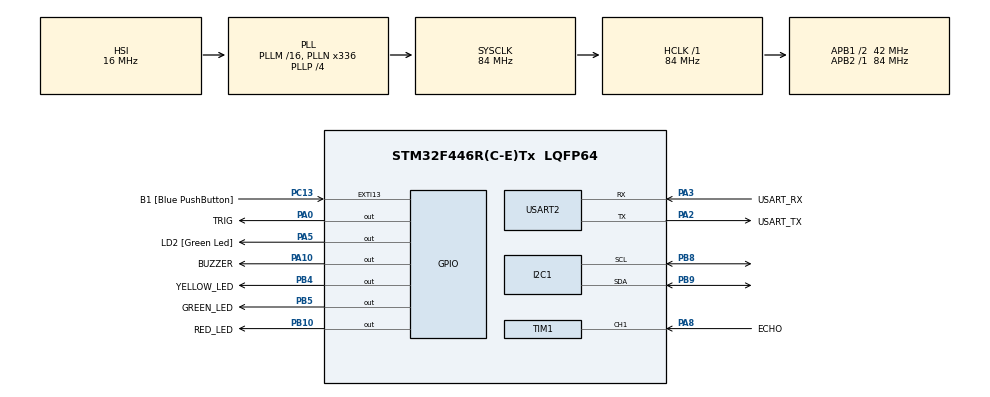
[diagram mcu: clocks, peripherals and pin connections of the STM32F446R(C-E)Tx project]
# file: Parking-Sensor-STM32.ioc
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Mcu.Family=STM32F4
Mcu.Name=STM32F446R(C-E)Tx
Mcu.Package=LQFP64
NVIC.PriorityGroup=NVIC_PRIORITYGROUP_0
NVIC.TIM1_CC_IRQn=true\:0\:0\:false\:false\:true\:true\:true\:true
PA0-WKUP.GPIO_Label=TRIG
PA0-WKUP.Signal=GPIO_Output
PA10.GPIO_Label=BUZZER
PA10.Signal=GPIO_Output
PA13.GPIO_Label=TMS
PA13.Mode=Serial_Wire
PA13.Signal=SYS_JTMS-SWDIO
PA14.GPIO_Label=TCK
PA14.Mode=Serial_Wire
PA14.Signal=SYS_JTCK-SWCLK
PA2.GPIO_Label=USART_TX
PA2.Mode=Asynchronous
PA2.Signal=USART2_TX
PA3.GPIO_Label=USART_RX
PA3.Mode=Asynchronous
PA3.Signal=USART2_RX
PA5.GPIO_Label=LD2 [Green Led]
PA5.Signal=GPIO_Output
PA8.GPIO_Label=ECHO
PA8.Signal=S_TIM1_CH1
PB10.GPIO_Label=RED_LED
PB10.Signal=GPIO_Output
PB3.GPIO_Label=SWO
PB3.Signal=SYS_JTDO-SWO
PB4.GPIO_Label=YELLOW_LED
PB4.Signal=GPIO_Output
PB5.GPIO_Label=GREEN_LED
PB5.Signal=GPIO_Output
PB8.Mode=I2C
PB8.Signal=I2C1_SCL
PB9.Mode=I2C
PB9.Signal=I2C1_SDA
PC13.GPIO_Label=B1 [Blue PushButton]
PC13.GPIO_ModeDefaultEXTI=GPIO_MODE_IT_FALLING
PC13.Signal=GPXTI13
PC14-OSC32_IN.Mode=LSE-External-Oscillator
PC14-OSC32_IN.Signal=RCC_OSC32_IN
PC15-OSC32_OUT.Mode=LSE-External-Oscillator
PC15-OSC32_OUT.Signal=RCC_OSC32_OUT
PH0-OSC_IN.Mode=HSE-External-Oscillator
PH0-OSC_IN.Signal=RCC_OSC_IN
PH1-OSC_OUT.Mode=HSE-External-Oscillator
PH1-OSC_OUT.Signal=RCC_OSC_OUT
ProjectManager.HeapSize=0x200
ProjectManager.StackSize=0x400
ProjectManager.TargetToolchain=STM32CubeIDE
RCC.48MHZClocksFreq_Value=84000000
RCC.AHBFreq_Value=84000000
RCC.APB1CLKDivider=RCC_HCLK_DIV2
RCC.APB1Freq_Value=42000000
RCC.APB1TimFreq_Value=84000000
RCC.APB2Freq_Value=84000000
RCC.APB2TimFreq_Value=84000000
RCC.CortexFreq_Value=84000000
RCC.FLatency-AdvancedSettings=FLASH_LATENCY_2
RCC.HCLKFreq_Value=84000000
RCC.HSE_VALUE=8000000
RCC.HSI_VALUE=16000000
RCC.PLLN=336
RCC.PLLP=RCC_PLLP_DIV4
RCC.SYSCLKFreq_VALUE=84000000
RCC.SYSCLKSource=RCC_SYSCLKSOURCE_PLLCLK
RCC.USBFreq_Value=168000000
RCC.VCOOutputFreq_Value=336000000
SH.S_TIM1_CH1.0=TIM1_CH1,Input_Capture1_from_TI1
TIM1.Channel-Input_Capture1_from_TI1=TIM_CHANNEL_1
TIM1.Period=0xffff-1
TIM1.Prescaler=84-1
USART2.VirtualMode=VM_ASYNC
board=NUCLEO-F446RE

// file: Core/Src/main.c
/* USER CODE BEGIN Header */
/**
  ******************************************************************************
  * @file           : main.c
  * @brief          : Main program body
  ******************************************************************************
  * @attention
  *
  * Copyright (c) 2024 STMicroelectronics.
  * All rights reserved.
  *
  * This software is licensed under terms that can be found in the LICENSE file
  * in the root directory of this software component.
  * If no LICENSE file comes with this software, it is provided AS-IS.
  *
  ******************************************************************************
  */
/* USER CODE END Header */
#include "main.h"

/* USER CODE BEGIN Includes */

#include <stdio.h>
#include "lcd1602a.h"

/* USER CODE END Includes */

I2C_HandleTypeDef hi2c1;

TIM_HandleTypeDef htim1;

UART_HandleTypeDef huart2;

/* USER CODE BEGIN PV */

LCD1602A lcd;

enum DistanceLevel {LOW = 0, MID, HIGH};

// TMR3 Input Capture Private Variables
enum InputCaptureState {ON_RISING_EDGE = 0, ON_FALLING_EDGE};

volatile enum InputCaptureState inputCaptureState = ON_RISING_EDGE;

volatile uint32_t inputCaptureRiseEdgeTime = 0;

volatile uint32_t inputCaptureFallEdgeTime = 0;

volatile uint8_t measuredDistance = 0; // in centimeters

/* USER CODE END PV */

void SystemClock_Config(void);
static void MX_GPIO_Init(void);
static void MX_USART2_UART_Init(void);
static void MX_I2C1_Init(void);
static void MX_TIM1_Init(void);

/* USER CODE BEGIN 0 */

/**
  * @brief  converts measured distance to level for LEDs and buzzer functions
  * @retval distance level
  */
enum DistanceLevel getDistanceLevel(uint8_t sensorDistance) {

	enum DistanceLevel level = LOW;

	if (0 <= sensorDistance && sensorDistance <= 5)
		level = HIGH;
	else if (5 < sensorDistance && sensorDistance <= 10)
		level = MID;
	else if (10 < sensorDistance && sensorDistance <= 15)
		level = LOW;

	return level;
}

/**
  * @brief  toggle corresponding leds based on distance
  * @retval none
  */
void toggleBuzzer(enum DistanceLevel level) {
	uint8_t pinState = (level == HIGH) ? GPIO_PIN_SET : GPIO_PIN_RESET;

	HAL_GPIO_WritePin(BUZZER_GPIO_Port, BUZZER_Pin, pinState);
}

/**
  * @brief  toggle corresponding leds based on distance
  * @retval none
  */
void toggleLEDs(enum DistanceLevel level) {

	// reset all pins
	HAL_GPIO_WritePin(RED_LED_GPIO_Port, RED_LED_Pin, GPIO_PIN_RESET);
	HAL_GPIO_WritePin(YELLOW_LED_GPIO_Port, YELLOW_LED_Pin, GPIO_PIN_RESET);
	HAL_GPIO_WritePin(GREEN_LED_GPIO_Port, GREEN_LED_Pin, GPIO_PIN_RESET);

	if (level == HIGH)
		HAL_GPIO_WritePin(RED_LED_GPIO_Port, RED_LED_Pin, GPIO_PIN_SET);
	else if (level == MID)
		HAL_GPIO_WritePin(YELLOW_LED_GPIO_Port, YELLOW_LED_Pin, GPIO_PIN_SET);
	else if (level == LOW)
		HAL_GPIO_WritePin(GREEN_LED_GPIO_Port, GREEN_LED_Pin, GPIO_PIN_SET);
}

void delay(uint32_t time) {
	__HAL_TIM_SET_COUNTER(&htim1, 0);
	while (__HAL_TIM_GET_COUNTER(&htim1) < time);
}

void captureTimeOnRiseEdge(TIM_HandleTypeDef *htim) {
	inputCaptureRiseEdgeTime = HAL_TIM_ReadCapturedValue(htim, TIM_CHANNEL_1);

	inputCaptureState = ON_FALLING_EDGE;
	__HAL_TIM_SET_CAPTUREPOLARITY(htim, TIM_CHANNEL_1, TIM_INPUTCHANNELPOLARITY_FALLING);
}

void captureTimeOnFallEdge(TIM_HandleTypeDef *htim) {
	inputCaptureFallEdgeTime = HAL_TIM_ReadCapturedValue(htim, TIM_CHANNEL_1);
	__HAL_TIM_SET_COUNTER(htim, 0);

	// set polarity to rising edge
	inputCaptureState = ON_RISING_EDGE;
	__HAL_TIM_SET_CAPTUREPOLARITY(htim, TIM_CHANNEL_1, TIM_INPUTCHANNELPOLARITY_RISING);
	__HAL_TIM_DISABLE_IT(&htim1, TIM_IT_CC1);

	// calculate measured distance
	uint32_t difference = inputCaptureFallEdgeTime - inputCaptureRiseEdgeTime;

	// check if falledge time has elapsed on next period
	if (inputCaptureFallEdgeTime > inputCaptureRiseEdgeTime)
	{
		difference = inputCaptureFallEdgeTime - inputCaptureRiseEdgeTime;
	}

	else if (inputCaptureRiseEdgeTime > inputCaptureFallEdgeTime)
	{
		difference = (0xFFFF - inputCaptureRiseEdgeTime) + inputCaptureFallEdgeTime;
	}

	measuredDistance = difference * .034 / 2;
}

void handleTMR4Interrupt(TIM_HandleTypeDef *htim) {

	if (inputCaptureState == ON_RISING_EDGE)
	{
		captureTimeOnRiseEdge(htim);
	}

	else if (inputCaptureState == ON_FALLING_EDGE)
	{
		captureTimeOnFallEdge(htim);
	}
}

/**
  * @brief  callback function for TMR1
  * @retval void
  */
void HAL_TIM_IC_CaptureCallback(TIM_HandleTypeDef *htim)
{

	if (htim == &htim1 && htim->Channel == HAL_TIM_ACTIVE_CHANNEL_1)
	{
		handleTMR4Interrupt(&htim1);
	}
}

void HCSR04_ReadInput(void)
{
	HAL_GPIO_WritePin(TRIG_GPIO_Port, TRIG_Pin, GPIO_PIN_SET);  // pull the TRIG pin HIGH
	delay(10);  // wait for 10 us
	HAL_GPIO_WritePin(TRIG_GPIO_Port, TRIG_Pin, GPIO_PIN_RESET);  // pull the TRIG pin low

	__HAL_TIM_ENABLE_IT(&htim1, TIM_IT_CC1);
}

void handle_HCSR04Interrupt() {

	HCSR04_ReadInput();

	enum DistanceLevel level = getDistanceLevel(measuredDistance);

	// display distance value on LCD
	char buffer[16];
	sprintf(buffer, "Dist: %dcm", measuredDistance);
  LCD_ClearDisplay(&lcd);
  LCD_SetBacklight(&lcd, 1);
  LCD_WriteString(&lcd, buffer);

	// toggle LEDs based on distance level
	toggleLEDs(level);
	toggleBuzzer(level);
}

/* USER CODE END 0 */

int main(void)
{

  /* MCU Configuration--------------------------------------------------------*/

  /* Reset of all peripherals, Initializes the Flash interface and the Systick. */
  HAL_Init();

  /* Configure the system clock */
  SystemClock_Config();

  /* Initialize all configured peripherals */
  MX_GPIO_Init();
  MX_USART2_UART_Init();
  MX_I2C1_Init();
  MX_TIM1_Init();
  /* USER CODE BEGIN 2 */

  LCD_Init(&lcd, &hi2c1);
  HAL_TIM_IC_Start_IT(&htim1, TIM_CHANNEL_1);

  LCD_ClearDisplay(&lcd);
  LCD_SetBacklight(&lcd, 1);
  LCD_SetCursor(&lcd, 0, 0);

  /* USER CODE END 2 */

  /* Infinite loop */
  /* USER CODE BEGIN WHILE */
  while (1)
  {

	handle_HCSR04Interrupt();
	HAL_Delay(250);
    /* USER CODE END WHILE */

  }
}

void SystemClock_Config(void)
{
  RCC_OscInitTypeDef RCC_OscInitStruct = {0};
  RCC_ClkInitTypeDef RCC_ClkInitStruct = {0};

  /** Configure the main internal regulator output voltage
  */
  __HAL_RCC_PWR_CLK_ENABLE();
  __HAL_PWR_VOLTAGESCALING_CONFIG(PWR_REGULATOR_VOLTAGE_SCALE3);

  /** Initializes the RCC Oscillators according to the specified parameters
  * in the RCC_OscInitTypeDef structure.
  */
  RCC_OscInitStruct.OscillatorType = RCC_OSCILLATORTYPE_HSI;
  RCC_OscInitStruct.HSIState = RCC_HSI_ON;
  RCC_OscInitStruct.HSICalibrationValue = RCC_HSICALIBRATION_DEFAULT;
  RCC_OscInitStruct.PLL.PLLState = RCC_PLL_ON;
  RCC_OscInitStruct.PLL.PLLSource = RCC_PLLSOURCE_HSI;
  RCC_OscInitStruct.PLL.PLLM = 16;
  RCC_OscInitStruct.PLL.PLLN = 336;
  RCC_OscInitStruct.PLL.PLLP = RCC_PLLP_DIV4;
  RCC_OscInitStruct.PLL.PLLQ = 2;
  RCC_OscInitStruct.PLL.PLLR = 2;
  if (HAL_RCC_OscConfig(&RCC_OscInitStruct) != HAL_OK)
  {
    Error_Handler();
  }

  /** Initializes the CPU, AHB and APB buses clocks
  */
  RCC_ClkInitStruct.ClockType = RCC_CLOCKTYPE_HCLK|RCC_CLOCKTYPE_SYSCLK
                              |RCC_CLOCKTYPE_PCLK1|RCC_CLOCKTYPE_PCLK2;
  RCC_ClkInitStruct.SYSCLKSource = RCC_SYSCLKSOURCE_PLLCLK;
  RCC_ClkInitStruct.AHBCLKDivider = RCC_SYSCLK_DIV1;
  RCC_ClkInitStruct.APB1CLKDivider = RCC_HCLK_DIV2;
  RCC_ClkInitStruct.APB2CLKDivider = RCC_HCLK_DIV1;

  if (HAL_RCC_ClockConfig(&RCC_ClkInitStruct, FLASH_LATENCY_2) != HAL_OK)
  {
    Error_Handler();
  }
}

static void MX_I2C1_Init(void)
{

  hi2c1.Instance = I2C1;
  hi2c1.Init.ClockSpeed = 100000;
  hi2c1.Init.DutyCycle = I2C_DUTYCYCLE_2;
  hi2c1.Init.OwnAddress1 = 0;
  hi2c1.Init.AddressingMode = I2C_ADDRESSINGMODE_7BIT;
  hi2c1.Init.DualAddressMode = I2C_DUALADDRESS_DISABLE;
  hi2c1.Init.OwnAddress2 = 0;
  hi2c1.Init.GeneralCallMode = I2C_GENERALCALL_DISABLE;
  hi2c1.Init.NoStretchMode = I2C_NOSTRETCH_DISABLE;
  if (HAL_I2C_Init(&hi2c1) != HAL_OK)
  {
    Error_Handler();
  }

}

static void MX_TIM1_Init(void)
{

  TIM_MasterConfigTypeDef sMasterConfig = {0};
  TIM_IC_InitTypeDef sConfigIC = {0};

  htim1.Instance = TIM1;
  htim1.Init.Prescaler = 84-1;
  htim1.Init.CounterMode = TIM_COUNTERMODE_UP;
  htim1.Init.Period = 0xffff-1;
  htim1.Init.ClockDivision = TIM_CLOCKDIVISION_DIV1;
  htim1.Init.RepetitionCounter = 0;
  htim1.Init.AutoReloadPreload = TIM_AUTORELOAD_PRELOAD_DISABLE;
  if (HAL_TIM_IC_Init(&htim1) != HAL_OK)
  {
    Error_Handler();
  }
  sMasterConfig.MasterOutputTrigger = TIM_TRGO_RESET;
  sMasterConfig.MasterSlaveMode = TIM_MASTERSLAVEMODE_DISABLE;
  if (HAL_TIMEx_MasterConfigSynchronization(&htim1, &sMasterConfig) != HAL_OK)
  {
    Error_Handler();
  }
  sConfigIC.ICPolarity = TIM_INPUTCHANNELPOLARITY_RISING;
  sConfigIC.ICSelection = TIM_ICSELECTION_DIRECTTI;
  sConfigIC.ICPrescaler = TIM_ICPSC_DIV1;
  sConfigIC.ICFilter = 0;
  if (HAL_TIM_IC_ConfigChannel(&htim1, &sConfigIC, TIM_CHANNEL_1) != HAL_OK)
  {
    Error_Handler();
  }

}

static void MX_USART2_UART_Init(void)
{

  huart2.Instance = USART2;
  huart2.Init.BaudRate = 115200;
  huart2.Init.WordLength = UART_WORDLENGTH_8B;
  huart2.Init.StopBits = UART_STOPBITS_1;
  huart2.Init.Parity = UART_PARITY_NONE;
  huart2.Init.Mode = UART_MODE_TX_RX;
  huart2.Init.HwFlowCtl = UART_HWCONTROL_NONE;
  huart2.Init.OverSampling = UART_OVERSAMPLING_16;
  if (HAL_UART_Init(&huart2) != HAL_OK)
  {
    Error_Handler();
  }

}

static void MX_GPIO_Init(void)
{
  GPIO_InitTypeDef GPIO_InitStruct = {0};

  /* GPIO Ports Clock Enable */
  __HAL_RCC_GPIOC_CLK_ENABLE();
  __HAL_RCC_GPIOH_CLK_ENABLE();
  __HAL_RCC_GPIOA_CLK_ENABLE();
  __HAL_RCC_GPIOB_CLK_ENABLE();

  /*Configure GPIO pin Output Level */
  HAL_GPIO_WritePin(GPIOA, TRIG_Pin|LD2_Pin|BUZZER_Pin, GPIO_PIN_RESET);

  /*Configure GPIO pin Output Level */
  HAL_GPIO_WritePin(GPIOB, RED_LED_Pin|YELLOW_LED_Pin|GREEN_LED_Pin, GPIO_PIN_RESET);

  /*Configure GPIO pin : B1_Pin */
  GPIO_InitStruct.Pin = B1_Pin;
  GPIO_InitStruct.Mode = GPIO_MODE_IT_FALLING;
  GPIO_InitStruct.Pull = GPIO_NOPULL;
  HAL_GPIO_Init(B1_GPIO_Port, &GPIO_InitStruct);

  /*Configure GPIO pins : TRIG_Pin LD2_Pin BUZZER_Pin */
  GPIO_InitStruct.Pin = TRIG_Pin|LD2_Pin|BUZZER_Pin;
  GPIO_InitStruct.Mode = GPIO_MODE_OUTPUT_PP;
  GPIO_InitStruct.Pull = GPIO_NOPULL;
  GPIO_InitStruct.Speed = GPIO_SPEED_FREQ_LOW;
  HAL_GPIO_Init(GPIOA, &GPIO_InitStruct);

  /*Configure GPIO pins : RED_LED_Pin YELLOW_LED_Pin GREEN_LED_Pin */
  GPIO_InitStruct.Pin = RED_LED_Pin|YELLOW_LED_Pin|GREEN_LED_Pin;
  GPIO_InitStruct.Mode = GPIO_MODE_OUTPUT_PP;
  GPIO_InitStruct.Pull = GPIO_NOPULL;
  GPIO_InitStruct.Speed = GPIO_SPEED_FREQ_LOW;
  HAL_GPIO_Init(GPIOB, &GPIO_InitStruct);

}

void Error_Handler(void)
{
  __disable_irq();
  while (1)
  {
  }
}
